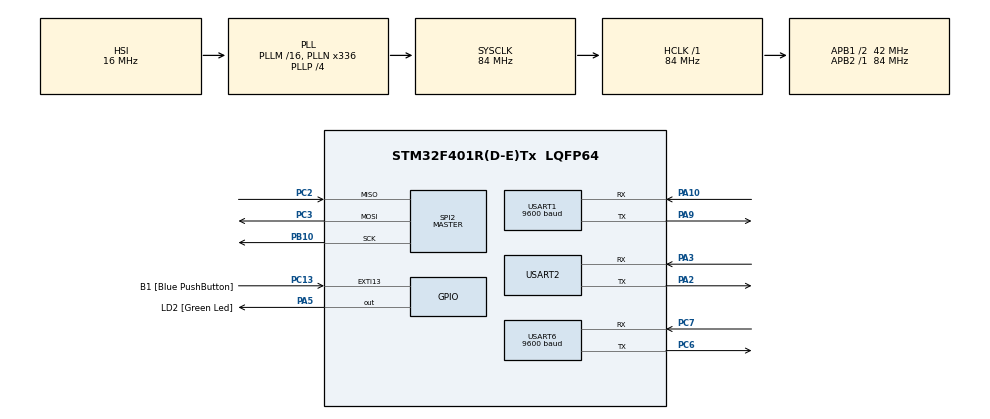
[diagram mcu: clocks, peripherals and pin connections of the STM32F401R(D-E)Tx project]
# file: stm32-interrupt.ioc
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Dma.Request0=USART6_RX
Dma.Request1=USART1_RX
Dma.Request2=USART2_RX
Dma.USART1_RX.1.Direction=DMA_PERIPH_TO_MEMORY
Dma.USART1_RX.1.FIFOMode=DMA_FIFOMODE_DISABLE
Dma.USART1_RX.1.Instance=DMA2_Stream2
Dma.USART1_RX.1.MemDataAlignment=DMA_MDATAALIGN_BYTE
Dma.USART1_RX.1.MemInc=DMA_MINC_ENABLE
Dma.USART1_RX.1.Mode=DMA_NORMAL
Dma.USART1_RX.1.PeriphDataAlignment=DMA_PDATAALIGN_BYTE
Dma.USART1_RX.1.PeriphInc=DMA_PINC_DISABLE
Dma.USART1_RX.1.Priority=DMA_PRIORITY_LOW
Dma.USART2_RX.2.Direction=DMA_PERIPH_TO_MEMORY
Dma.USART2_RX.2.FIFOMode=DMA_FIFOMODE_DISABLE
Dma.USART2_RX.2.Instance=DMA1_Stream5
Dma.USART2_RX.2.MemDataAlignment=DMA_MDATAALIGN_BYTE
Dma.USART2_RX.2.MemInc=DMA_MINC_ENABLE
Dma.USART2_RX.2.Mode=DMA_CIRCULAR
Dma.USART2_RX.2.PeriphDataAlignment=DMA_PDATAALIGN_BYTE
Dma.USART2_RX.2.PeriphInc=DMA_PINC_DISABLE
Dma.USART2_RX.2.Priority=DMA_PRIORITY_LOW
Dma.USART6_RX.0.Direction=DMA_PERIPH_TO_MEMORY
Dma.USART6_RX.0.FIFOMode=DMA_FIFOMODE_DISABLE
Dma.USART6_RX.0.Instance=DMA2_Stream1
Dma.USART6_RX.0.MemDataAlignment=DMA_MDATAALIGN_BYTE
Dma.USART6_RX.0.MemInc=DMA_MINC_ENABLE
Dma.USART6_RX.0.Mode=DMA_CIRCULAR
Dma.USART6_RX.0.PeriphDataAlignment=DMA_PDATAALIGN_BYTE
Dma.USART6_RX.0.PeriphInc=DMA_PINC_DISABLE
Dma.USART6_RX.0.Priority=DMA_PRIORITY_LOW
Mcu.Family=STM32F4
Mcu.Name=STM32F401R(D-E)Tx
Mcu.Package=LQFP64
NVIC.DMA1_Stream5_IRQn=true\:0\:0\:false\:false\:true\:false\:true\:true
NVIC.DMA2_Stream1_IRQn=true\:0\:0\:false\:false\:true\:false\:true\:true
NVIC.DMA2_Stream2_IRQn=true\:0\:0\:false\:false\:true\:false\:true\:true
NVIC.PriorityGroup=NVIC_PRIORITYGROUP_0
NVIC.USART1_IRQn=true\:0\:0\:false\:false\:true\:true\:true\:true
NVIC.USART6_IRQn=true\:0\:0\:false\:false\:true\:true\:true\:true
PA10.GPIO_PuPd=GPIO_PULLDOWN
PA10.GPIO_Speed=GPIO_SPEED_FREQ_LOW
PA10.Mode=Asynchronous
PA10.Signal=USART1_RX
PA13.GPIO_Label=TMS
PA13.Mode=Serial_Wire
PA13.Signal=SYS_JTMS-SWDIO
PA14.GPIO_Label=TCK
PA14.Mode=Serial_Wire
PA14.Signal=SYS_JTCK-SWCLK
PA2.GPIO_PuPd=GPIO_PULLDOWN
PA2.GPIO_Speed=GPIO_SPEED_FREQ_LOW
PA2.Mode=Asynchronous
PA2.Signal=USART2_TX
PA3.GPIO_PuPd=GPIO_PULLDOWN
PA3.GPIO_Speed=GPIO_SPEED_FREQ_LOW
PA3.Mode=Asynchronous
PA3.Signal=USART2_RX
PA5.GPIO_Label=LD2 [Green Led]
PA5.GPIO_Mode=GPIO_MODE_OUTPUT_PP
PA5.GPIO_PuPd=GPIO_NOPULL
PA5.GPIO_Speed=GPIO_SPEED_FREQ_LOW
PA5.Signal=GPIO_Output
PA9.GPIO_PuPd=GPIO_PULLDOWN
PA9.GPIO_Speed=GPIO_SPEED_FREQ_LOW
PA9.Mode=Asynchronous
PA9.Signal=USART1_TX
PB10.Mode=Full_Duplex_Master
PB10.Signal=SPI2_SCK
PB3.GPIO_Label=SWO
PB3.Signal=SYS_JTDO-SWO
PC13-ANTI_TAMP.GPIO_Label=B1 [Blue PushButton]
PC13-ANTI_TAMP.GPIO_ModeDefaultEXTI=GPIO_MODE_IT_FALLING
PC13-ANTI_TAMP.GPIO_PuPd=GPIO_NOPULL
PC13-ANTI_TAMP.Signal=GPXTI13
PC14-OSC32_IN.Mode=LSE-External-Oscillator
PC14-OSC32_IN.Signal=RCC_OSC32_IN
PC15-OSC32_OUT.Mode=LSE-External-Oscillator
PC15-OSC32_OUT.Signal=RCC_OSC32_OUT
PC2.Mode=Full_Duplex_Master
PC2.Signal=SPI2_MISO
PC3.Mode=Full_Duplex_Master
PC3.Signal=SPI2_MOSI
PC6.GPIO_PuPd=GPIO_PULLDOWN
PC6.GPIO_Speed=GPIO_SPEED_FREQ_LOW
PC6.Mode=Asynchronous
PC6.Signal=USART6_TX
PC7.GPIO_PuPd=GPIO_PULLDOWN
PC7.GPIO_Speed=GPIO_SPEED_FREQ_LOW
PC7.Mode=Asynchronous
PC7.Signal=USART6_RX
PH0\ -\ OSC_IN.Mode=HSE-External-Clock-Source
PH0\ -\ OSC_IN.Signal=RCC_OSC_IN
PH1\ -\ OSC_OUT.Mode=HSE-External-Clock-Source
PH1\ -\ OSC_OUT.Signal=RCC_OSC_OUT
ProjectManager.HeapSize=0x200
ProjectManager.StackSize=0x400
ProjectManager.TargetToolchain=STM32CubeIDE
RCC.48MHZClocksFreq_Value=48000000
RCC.AHBFreq_Value=84000000
RCC.APB1CLKDivider=RCC_HCLK_DIV2
RCC.APB1Freq_Value=42000000
RCC.APB1TimFreq_Value=84000000
RCC.APB2Freq_Value=84000000
RCC.APB2TimFreq_Value=84000000
RCC.CortexFreq_Value=84000000
RCC.HCLKFreq_Value=84000000
RCC.HSE_VALUE=8000000
RCC.HSI_VALUE=16000000
RCC.PLLN=336
RCC.PLLP=RCC_PLLP_DIV4
RCC.PLLQ=7
RCC.SYSCLKFreq_VALUE=84000000
RCC.SYSCLKSource=RCC_SYSCLKSOURCE_PLLCLK
RCC.VCOOutputFreq_Value=336000000
SPI2.Direction=SPI_DIRECTION_2LINES
SPI2.Mode=SPI_MODE_MASTER
SPI2.VirtualType=VM_MASTER
USART1.BaudRate=9600
USART1.Mode=MODE_RX
USART1.VirtualMode=VM_ASYNC
USART2.VirtualMode=VM_ASYNC
USART6.BaudRate=9600
USART6.Mode=MODE_RX
USART6.VirtualMode=VM_ASYNC
board=NUCLEO-F401RE

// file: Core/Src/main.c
/* USER CODE BEGIN Header */
/**
  ******************************************************************************
  * @file           : main.c
  * @brief          : Main program body
  ******************************************************************************
  * @attention
  *
  * Copyright (c) 2023 STMicroelectronics.
  * All rights reserved.
  *
  * This software is licensed under terms that can be found in the LICENSE file
  * in the root directory of this software component.
  * If no LICENSE file comes with this software, it is provided AS-IS.
  *
  ******************************************************************************
  */
/* USER CODE END Header */
#include "main.h"
#include "sen0386.h"
#include "command.h"
/* USER CODE BEGIN Includes */
#include <stdio.h>
#include <stdlib.h>
#include <string.h>
/* USER CODE END Includes */

/* USER CODE BEGIN PM */
typedef int bool;
#define true 1
#define false 0
/* USER CODE END PM */

SPI_HandleTypeDef hspi2;

UART_HandleTypeDef huart1;
UART_HandleTypeDef huart2;
UART_HandleTypeDef huart6;
DMA_HandleTypeDef hdma_usart1_rx;
DMA_HandleTypeDef hdma_usart2_rx;
DMA_HandleTypeDef hdma_usart6_rx;

void SystemClock_Config(void);
static void MX_GPIO_Init(void);
static void MX_DMA_Init(void);
static void MX_USART6_UART_Init(void);
static void MX_USART1_UART_Init(void);
static void MX_USART2_UART_Init(void);
static void MX_SPI2_Init(void);
/* USER CODE BEGIN PFP */
Sen0386Data getSensorData();
bool isInitialized(Sen0386Data sen0386);
bool hasCommandAvailable();
bool hasCurrentCommand();
void setNextCommand();
void sendLog();
bool hasCommandStarted();
void startCommand();
bool isCommandCompleted();
void endCommand();
/* USER CODE END PFP */

/* USER CODE BEGIN 0 */
uint8_t sen0386_buffer[SEN0386_READ_BUFFER_SIZE] = {};
uint8_t ubuffer[1] = {};

/* USER CODE END 0 */

int main(void)
{

  /* MCU Configuration--------------------------------------------------------*/

  /* Reset of all peripherals, Initializes the Flash interface and the Systick. */
  HAL_Init();

  /* Configure the system clock */
  SystemClock_Config();

  /* Initialize all configured peripherals */
  MX_GPIO_Init();
  MX_DMA_Init();
  MX_USART6_UART_Init();
  MX_USART1_UART_Init();
  MX_USART2_UART_Init();
  MX_SPI2_Init();
  /* USER CODE BEGIN 2 */
  HAL_UART_Receive_DMA(&huart6, sen0386_buffer, SEN0386_READ_BUFFER_SIZE);
  /* USER CODE END 2 */

  /* Infinite loop */
  /* USER CODE BEGIN WHILE */
  while (1)
  {
	  /**
	   * Normal flow
	   */
	  Sen0386Data sen0386 = getSensorData();
	  if (isInitialized(sen0386)) {
		  if (!hasCurrentCommand()) {
			  setNextCommand();
		  }
		  sendLog();
		  if (hasCurrentCommand()) {
			 if (!hasCommandStarted()) {
				 startCommand();
			 }
			 if (isCommandCompleted()) {
				 endCommand();
			 }
		  }
	  }
    /* USER CODE END WHILE */

  }
}

void SystemClock_Config(void)
{
  RCC_OscInitTypeDef RCC_OscInitStruct = {0};
  RCC_ClkInitTypeDef RCC_ClkInitStruct = {0};

  /** Configure the main internal regulator output voltage
  */
  __HAL_RCC_PWR_CLK_ENABLE();
  __HAL_PWR_VOLTAGESCALING_CONFIG(PWR_REGULATOR_VOLTAGE_SCALE2);

  /** Initializes the RCC Oscillators according to the specified parameters
  * in the RCC_OscInitTypeDef structure.
  */
  RCC_OscInitStruct.OscillatorType = RCC_OSCILLATORTYPE_HSI;
  RCC_OscInitStruct.HSIState = RCC_HSI_ON;
  RCC_OscInitStruct.HSICalibrationValue = RCC_HSICALIBRATION_DEFAULT;
  RCC_OscInitStruct.PLL.PLLState = RCC_PLL_ON;
  RCC_OscInitStruct.PLL.PLLSource = RCC_PLLSOURCE_HSI;
  RCC_OscInitStruct.PLL.PLLM = 16;
  RCC_OscInitStruct.PLL.PLLN = 336;
  RCC_OscInitStruct.PLL.PLLP = RCC_PLLP_DIV4;
  RCC_OscInitStruct.PLL.PLLQ = 7;
  if (HAL_RCC_OscConfig(&RCC_OscInitStruct) != HAL_OK)
  {
    Error_Handler();
  }

  /** Initializes the CPU, AHB and APB buses clocks
  */
  RCC_ClkInitStruct.ClockType = RCC_CLOCKTYPE_HCLK|RCC_CLOCKTYPE_SYSCLK
                              |RCC_CLOCKTYPE_PCLK1|RCC_CLOCKTYPE_PCLK2;
  RCC_ClkInitStruct.SYSCLKSource = RCC_SYSCLKSOURCE_PLLCLK;
  RCC_ClkInitStruct.AHBCLKDivider = RCC_SYSCLK_DIV1;
  RCC_ClkInitStruct.APB1CLKDivider = RCC_HCLK_DIV2;
  RCC_ClkInitStruct.APB2CLKDivider = RCC_HCLK_DIV1;

  if (HAL_RCC_ClockConfig(&RCC_ClkInitStruct, FLASH_LATENCY_2) != HAL_OK)
  {
    Error_Handler();
  }
}

static void MX_SPI2_Init(void)
{

  /* SPI2 parameter configuration*/
  hspi2.Instance = SPI2;
  hspi2.Init.Mode = SPI_MODE_MASTER;
  hspi2.Init.Direction = SPI_DIRECTION_2LINES;
  hspi2.Init.DataSize = SPI_DATASIZE_8BIT;
  hspi2.Init.CLKPolarity = SPI_POLARITY_LOW;
  hspi2.Init.CLKPhase = SPI_PHASE_1EDGE;
  hspi2.Init.NSS = SPI_NSS_SOFT;
  hspi2.Init.BaudRatePrescaler = SPI_BAUDRATEPRESCALER_2;
  hspi2.Init.FirstBit = SPI_FIRSTBIT_MSB;
  hspi2.Init.TIMode = SPI_TIMODE_DISABLE;
  hspi2.Init.CRCCalculation = SPI_CRCCALCULATION_DISABLE;
  hspi2.Init.CRCPolynomial = 10;
  if (HAL_SPI_Init(&hspi2) != HAL_OK)
  {
    Error_Handler();
  }

}

static void MX_USART1_UART_Init(void)
{

  huart1.Instance = USART1;
  huart1.Init.BaudRate = 9600;
  huart1.Init.WordLength = UART_WORDLENGTH_8B;
  huart1.Init.StopBits = UART_STOPBITS_1;
  huart1.Init.Parity = UART_PARITY_NONE;
  huart1.Init.Mode = UART_MODE_RX;
  huart1.Init.HwFlowCtl = UART_HWCONTROL_NONE;
  huart1.Init.OverSampling = UART_OVERSAMPLING_16;
  if (HAL_UART_Init(&huart1) != HAL_OK)
  {
    Error_Handler();
  }

}

static void MX_USART2_UART_Init(void)
{

  huart2.Instance = USART2;
  huart2.Init.BaudRate = 115200;
  huart2.Init.WordLength = UART_WORDLENGTH_8B;
  huart2.Init.StopBits = UART_STOPBITS_1;
  huart2.Init.Parity = UART_PARITY_NONE;
  huart2.Init.Mode = UART_MODE_TX_RX;
  huart2.Init.HwFlowCtl = UART_HWCONTROL_NONE;
  huart2.Init.OverSampling = UART_OVERSAMPLING_16;
  if (HAL_UART_Init(&huart2) != HAL_OK)
  {
    Error_Handler();
  }

}

static void MX_USART6_UART_Init(void)
{

  huart6.Instance = USART6;
  huart6.Init.BaudRate = 9600;
  huart6.Init.WordLength = UART_WORDLENGTH_8B;
  huart6.Init.StopBits = UART_STOPBITS_1;
  huart6.Init.Parity = UART_PARITY_NONE;
  huart6.Init.Mode = UART_MODE_RX;
  huart6.Init.HwFlowCtl = UART_HWCONTROL_NONE;
  huart6.Init.OverSampling = UART_OVERSAMPLING_16;
  if (HAL_UART_Init(&huart6) != HAL_OK)
  {
    Error_Handler();
  }

}

static void MX_DMA_Init(void)
{

  /* DMA controller clock enable */
  __HAL_RCC_DMA2_CLK_ENABLE();
  __HAL_RCC_DMA1_CLK_ENABLE();

  /* DMA interrupt init */
  /* DMA1_Stream5_IRQn interrupt configuration */
  HAL_NVIC_SetPriority(DMA1_Stream5_IRQn, 0, 0);
  HAL_NVIC_EnableIRQ(DMA1_Stream5_IRQn);
  /* DMA2_Stream1_IRQn interrupt configuration */
  HAL_NVIC_SetPriority(DMA2_Stream1_IRQn, 0, 0);
  HAL_NVIC_EnableIRQ(DMA2_Stream1_IRQn);
  /* DMA2_Stream2_IRQn interrupt configuration */
  HAL_NVIC_SetPriority(DMA2_Stream2_IRQn, 0, 0);
  HAL_NVIC_EnableIRQ(DMA2_Stream2_IRQn);

}

static void MX_GPIO_Init(void)
{
  GPIO_InitTypeDef GPIO_InitStruct = {0};

  /* GPIO Ports Clock Enable */
  __HAL_RCC_GPIOC_CLK_ENABLE();
  __HAL_RCC_GPIOH_CLK_ENABLE();
  __HAL_RCC_GPIOA_CLK_ENABLE();
  __HAL_RCC_GPIOB_CLK_ENABLE();

  /*Configure GPIO pin Output Level */
  HAL_GPIO_WritePin(LD2_GPIO_Port, LD2_Pin, GPIO_PIN_RESET);

  /*Configure GPIO pin : B1_Pin */
  GPIO_InitStruct.Pin = B1_Pin;
  GPIO_InitStruct.Mode = GPIO_MODE_IT_FALLING;
  GPIO_InitStruct.Pull = GPIO_NOPULL;
  HAL_GPIO_Init(B1_GPIO_Port, &GPIO_InitStruct);

  /*Configure GPIO pin : LD2_Pin */
  GPIO_InitStruct.Pin = LD2_Pin;
  GPIO_InitStruct.Mode = GPIO_MODE_OUTPUT_PP;
  GPIO_InitStruct.Pull = GPIO_NOPULL;
  GPIO_InitStruct.Speed = GPIO_SPEED_FREQ_LOW;
  HAL_GPIO_Init(LD2_GPIO_Port, &GPIO_InitStruct);

}

/* USER CODE BEGIN 4 */
void HAL_UART_RxCpltCallback(UART_HandleTypeDef *huart) {
	HAL_UART_Receive_DMA(&huart6, sen0386_buffer, SEN0386_READ_BUFFER_SIZE);
}

bool isInitialized(Sen0386Data sen0386) {
	bool isInitialized = false;
	if (sen0386.acceleration.accXData != SEN0386_UNDEDFINED &&
			sen0386.acceleration.accYData != SEN0386_UNDEDFINED &&
			sen0386.acceleration.accZData != SEN0386_UNDEDFINED &&
			sen0386.angle.pitch != SEN0386_UNDEDFINED &&
			sen0386.angle.roll != SEN0386_UNDEDFINED &&
			sen0386.angle.yaw != SEN0386_UNDEDFINED &&
			sen0386.angularVelocity.angleVelX != SEN0386_UNDEDFINED &&
			sen0386.angularVelocity.angleVelY != SEN0386_UNDEDFINED &&
			sen0386.angularVelocity.angleVelZ != SEN0386_UNDEDFINED) {
		isInitialized = true;
	}
	return isInitialized;
}
/**
 * Generate sen0386 asensor data
 */
Sen0386Data getSensorData() {
	  uint8_t copied_sen0386_buffer[SEN0386_READ_BUFFER_SIZE];
	  memcpy(copied_sen0386_buffer, sen0386_buffer, SEN0386_READ_BUFFER_SIZE);
	  Sen0386Data sen0386 = getSensorInput(copied_sen0386_buffer);
	  return sen0386;
}

bool hasCommandAvailable() {
	return false;
}

bool hasCurrentCommand() {
	return false;
}

void setNextCommand() {

}

void sendLog() {

}

bool hasCommandStarted() {
	return false;
}

void startCommand() {

}

bool isCommandCompleted() {
	return false;
}

void endCommand() {

}

/* USER CODE END 4 */

void Error_Handler(void)
{
  __disable_irq();
  while (1)
  {
  }
}
